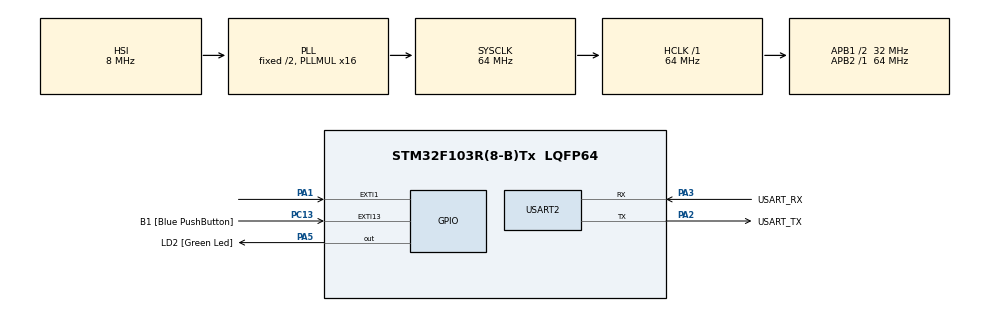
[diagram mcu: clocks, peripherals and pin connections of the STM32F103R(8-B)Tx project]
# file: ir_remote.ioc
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Mcu.Family=STM32F1
Mcu.Name=STM32F103R(8-B)Tx
Mcu.Package=LQFP64
NVIC.EXTI15_10_IRQn=true\:0\:0\:false\:false\:true\:true\:true\:true
NVIC.EXTI1_IRQn=true\:0\:0\:false\:false\:true\:true\:true\:true
NVIC.PriorityGroup=NVIC_PRIORITYGROUP_4
PA1.GPIO_PuPd=GPIO_PULLUP
PA1.Signal=GPXTI1
PA13.GPIO_Label=TMS
PA13.Mode=Serial_Wire
PA13.Signal=SYS_JTMS-SWDIO
PA14.GPIO_Label=TCK
PA14.Mode=Serial_Wire
PA14.Signal=SYS_JTCK-SWCLK
PA2.GPIO_Label=USART_TX
PA2.GPIO_Mode=GPIO_MODE_AF_PP
PA2.GPIO_PuPd=GPIO_NOPULL
PA2.GPIO_Speed=GPIO_SPEED_FREQ_LOW
PA2.Mode=Asynchronous
PA2.Signal=USART2_TX
PA3.GPIO_Label=USART_RX
PA3.GPIO_Mode=GPIO_MODE_AF_PP
PA3.GPIO_PuPd=GPIO_NOPULL
PA3.GPIO_Speed=GPIO_SPEED_FREQ_LOW
PA3.Mode=Asynchronous
PA3.Signal=USART2_RX
PA5.GPIO_Label=LD2 [Green Led]
PA5.GPIO_ModeDefaultOutputPP=GPIO_MODE_OUTPUT_PP
PA5.GPIO_PuPd=GPIO_NOPULL
PA5.GPIO_Speed=GPIO_SPEED_FREQ_LOW
PA5.Signal=GPIO_Output
PB3.GPIO_Label=SWO
PB3.Signal=SYS_JTDO-TRACESWO
PC13-TAMPER-RTC.GPIO_Label=B1 [Blue PushButton]
PC13-TAMPER-RTC.GPIO_PuPd=GPIO_NOPULL
PC13-TAMPER-RTC.Signal=GPXTI13
PC14-OSC32_IN.Mode=LSE-External-Oscillator
PC14-OSC32_IN.Signal=RCC_OSC32_IN
PC15-OSC32_OUT.Mode=LSE-External-Oscillator
PC15-OSC32_OUT.Signal=RCC_OSC32_OUT
PD0-OSC_IN.Mode=HSE-External-Clock-Source
PD0-OSC_IN.Signal=RCC_OSC_IN
PD1-OSC_OUT.Mode=HSE-External-Clock-Source
PD1-OSC_OUT.Signal=RCC_OSC_OUT
ProjectManager.HeapSize=0x200
ProjectManager.StackSize=0x400
ProjectManager.TargetToolchain=STM32CubeIDE
RCC.AHBFreq_Value=64000000
RCC.APB1CLKDivider=RCC_HCLK_DIV2
RCC.APB1Freq_Value=32000000
RCC.APB1TimFreq_Value=64000000
RCC.APB2Freq_Value=64000000
RCC.APB2TimFreq_Value=64000000
RCC.HCLKFreq_Value=64000000
RCC.PLLMUL=RCC_PLL_MUL16
RCC.RTCClockSelection=RCC_RTCCLKSOURCE_LSE
RCC.SYSCLKFreq_VALUE=64000000
RCC.SYSCLKSource=RCC_SYSCLKSOURCE_PLLCLK
RCC.USBFreq_Value=64000000
TIM2.Prescaler=64-1
USART2.VirtualMode=VM_ASYNC
VP_TIM2_VS_ClockSourceINT.Mode=Internal
board=NUCLEO-F103RB

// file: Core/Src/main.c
/* USER CODE BEGIN Header */
/**
  ******************************************************************************
  * @file           : main.c
  * @brief          : Main program body
  ******************************************************************************
  * @attention
  *
  * Copyright (c) 2022 STMicroelectronics.
  * All rights reserved.
  *
  * This software is licensed under terms that can be found in the LICENSE file
  * in the root directory of this software component.
  * If no LICENSE file comes with this software, it is provided AS-IS.
  *
  ******************************************************************************
  */
/* USER CODE END Header */
#include "main.h"

/* USER CODE BEGIN Includes */
#include "stdio.h"
/* USER CODE END Includes */

 TIM_HandleTypeDef htim2;

UART_HandleTypeDef huart2;

/* USER CODE BEGIN PV */
volatile uint16_t bitCount;
volatile uint32_t receivedData;
volatile int Is_Start = 0;
/* USER CODE END PV */

void SystemClock_Config(void);
static void MX_GPIO_Init(void);
static void MX_USART2_UART_Init(void);
static void MX_TIM2_Init(void);
/* USER CODE BEGIN PFP */
#ifdef __GNUC__
/* With GCC, small printf (option LD Linker->Libraries->Small printf
   set to 'Yes') calls __io_putchar() */
#define PUTCHAR_PROTOTYPE int __io_putchar(int ch)
#else
#define PUTCHAR_PROTOTYPE int fputc(int ch, FILE *f)
#endif /* __GNUC__ */

PUTCHAR_PROTOTYPE
{
  /* Place your implementation of fputc here */
  /* e.g. write a character to the USART1 and Loop until the end of transmission */
  HAL_UART_Transmit(&huart2, (uint8_t *)&ch, 1, 0xFFFF);

  return ch;
}
/* USER CODE END PFP */

/* USER CODE BEGIN 0 */
void HAL_GPIO_EXTI_Callback(uint16_t GPIO_Pin) {
	uint32_t time;
	if(GPIO_Pin == GPIO_PIN_1) {
		if(Is_Start == 0) {
			TIM2->CNT = 0; //__HAL_TIM_SET_COUNTER(&htim2, 0);
			Is_Start = 1;
		}
		else { //Is_Start == 1
			time = TIM2->CNT; //time = __HAL_TIM_GET_COUNTER(&htim2);
			TIM2->CNT = 0; //__HAL_TIM_SET_COUNTER(&htim2, 0);
			if(bitCount == 32) {
				if((time > 12500) && (time < 14500)) { //12500 < time < 14500
					receivedData = 0;
					bitCount = 0;
				}
				else if((time > 10500) && (time < 12000)) { //10500 < time < 12000
					Is_Start = 0;
				}
				else {
					bitCount = 32;
					Is_Start = 0;
				}
			}
			else { //bitCount != 32
				if(time > 4000) {
					bitCount = 32;
					Is_Start = 0;
				}
				else {
					if(time > 1600)
						receivedData = (receivedData << 1) + 1;
					else
						receivedData = (receivedData << 1);
					if(bitCount == 31) {
						printf("receivedData : 0x%0lx\n", receivedData);
						Is_Start = 0;
					}
					bitCount++;
				}
			}
		}
	}
}
/* USER CODE END 0 */

int main(void)
{

  /* MCU Configuration--------------------------------------------------------*/

  /* Reset of all peripherals, Initializes the Flash interface and the Systick. */
  HAL_Init();

  /* Configure the system clock */
  SystemClock_Config();

  /* Initialize all configured peripherals */
  MX_GPIO_Init();
  MX_USART2_UART_Init();
  MX_TIM2_Init();
  /* USER CODE BEGIN 2 */
  bitCount = 32;
  HAL_TIM_Base_Start(&htim2);
  /* USER CODE END 2 */

  /* Infinite loop */
  while (1)
  {

  }
}

void SystemClock_Config(void)
{
  RCC_OscInitTypeDef RCC_OscInitStruct = {0};
  RCC_ClkInitTypeDef RCC_ClkInitStruct = {0};

  /** Initializes the RCC Oscillators according to the specified parameters
  * in the RCC_OscInitTypeDef structure.
  */
  RCC_OscInitStruct.OscillatorType = RCC_OSCILLATORTYPE_HSI;
  RCC_OscInitStruct.HSIState = RCC_HSI_ON;
  RCC_OscInitStruct.HSICalibrationValue = RCC_HSICALIBRATION_DEFAULT;
  RCC_OscInitStruct.PLL.PLLState = RCC_PLL_ON;
  RCC_OscInitStruct.PLL.PLLSource = RCC_PLLSOURCE_HSI_DIV2;
  RCC_OscInitStruct.PLL.PLLMUL = RCC_PLL_MUL16;
  if (HAL_RCC_OscConfig(&RCC_OscInitStruct) != HAL_OK)
  {
    Error_Handler();
  }

  /** Initializes the CPU, AHB and APB buses clocks
  */
  RCC_ClkInitStruct.ClockType = RCC_CLOCKTYPE_HCLK|RCC_CLOCKTYPE_SYSCLK
                              |RCC_CLOCKTYPE_PCLK1|RCC_CLOCKTYPE_PCLK2;
  RCC_ClkInitStruct.SYSCLKSource = RCC_SYSCLKSOURCE_PLLCLK;
  RCC_ClkInitStruct.AHBCLKDivider = RCC_SYSCLK_DIV1;
  RCC_ClkInitStruct.APB1CLKDivider = RCC_HCLK_DIV2;
  RCC_ClkInitStruct.APB2CLKDivider = RCC_HCLK_DIV1;

  if (HAL_RCC_ClockConfig(&RCC_ClkInitStruct, FLASH_LATENCY_2) != HAL_OK)
  {
    Error_Handler();
  }
}

static void MX_TIM2_Init(void)
{

  TIM_ClockConfigTypeDef sClockSourceConfig = {0};
  TIM_MasterConfigTypeDef sMasterConfig = {0};

  htim2.Instance = TIM2;
  htim2.Init.Prescaler = 64-1;
  htim2.Init.CounterMode = TIM_COUNTERMODE_UP;
  htim2.Init.Period = 65535;
  htim2.Init.ClockDivision = TIM_CLOCKDIVISION_DIV1;
  htim2.Init.AutoReloadPreload = TIM_AUTORELOAD_PRELOAD_DISABLE;
  if (HAL_TIM_Base_Init(&htim2) != HAL_OK)
  {
    Error_Handler();
  }
  sClockSourceConfig.ClockSource = TIM_CLOCKSOURCE_INTERNAL;
  if (HAL_TIM_ConfigClockSource(&htim2, &sClockSourceConfig) != HAL_OK)
  {
    Error_Handler();
  }
  sMasterConfig.MasterOutputTrigger = TIM_TRGO_RESET;
  sMasterConfig.MasterSlaveMode = TIM_MASTERSLAVEMODE_DISABLE;
  if (HAL_TIMEx_MasterConfigSynchronization(&htim2, &sMasterConfig) != HAL_OK)
  {
    Error_Handler();
  }

}

static void MX_USART2_UART_Init(void)
{

  huart2.Instance = USART2;
  huart2.Init.BaudRate = 115200;
  huart2.Init.WordLength = UART_WORDLENGTH_8B;
  huart2.Init.StopBits = UART_STOPBITS_1;
  huart2.Init.Parity = UART_PARITY_NONE;
  huart2.Init.Mode = UART_MODE_TX_RX;
  huart2.Init.HwFlowCtl = UART_HWCONTROL_NONE;
  huart2.Init.OverSampling = UART_OVERSAMPLING_16;
  if (HAL_UART_Init(&huart2) != HAL_OK)
  {
    Error_Handler();
  }

}

static void MX_GPIO_Init(void)
{
  GPIO_InitTypeDef GPIO_InitStruct = {0};

  /* GPIO Ports Clock Enable */
  __HAL_RCC_GPIOC_CLK_ENABLE();
  __HAL_RCC_GPIOD_CLK_ENABLE();
  __HAL_RCC_GPIOA_CLK_ENABLE();
  __HAL_RCC_GPIOB_CLK_ENABLE();

  /*Configure GPIO pin Output Level */
  HAL_GPIO_WritePin(LD2_GPIO_Port, LD2_Pin, GPIO_PIN_RESET);

  /*Configure GPIO pin : B1_Pin */
  GPIO_InitStruct.Pin = B1_Pin;
  GPIO_InitStruct.Mode = GPIO_MODE_IT_RISING;
  GPIO_InitStruct.Pull = GPIO_NOPULL;
  HAL_GPIO_Init(B1_GPIO_Port, &GPIO_InitStruct);

  /*Configure GPIO pin : PA1 */
  GPIO_InitStruct.Pin = GPIO_PIN_1;
  GPIO_InitStruct.Mode = GPIO_MODE_IT_RISING;
  GPIO_InitStruct.Pull = GPIO_PULLUP;
  HAL_GPIO_Init(GPIOA, &GPIO_InitStruct);

  /*Configure GPIO pin : LD2_Pin */
  GPIO_InitStruct.Pin = LD2_Pin;
  GPIO_InitStruct.Mode = GPIO_MODE_OUTPUT_PP;
  GPIO_InitStruct.Pull = GPIO_NOPULL;
  GPIO_InitStruct.Speed = GPIO_SPEED_FREQ_LOW;
  HAL_GPIO_Init(LD2_GPIO_Port, &GPIO_InitStruct);

  /* EXTI interrupt init*/
  HAL_NVIC_SetPriority(EXTI1_IRQn, 0, 0);
  HAL_NVIC_EnableIRQ(EXTI1_IRQn);

  HAL_NVIC_SetPriority(EXTI15_10_IRQn, 0, 0);
  HAL_NVIC_EnableIRQ(EXTI15_10_IRQn);

}

void Error_Handler(void)
{
  __disable_irq();
  while (1)
  {
  }
}
